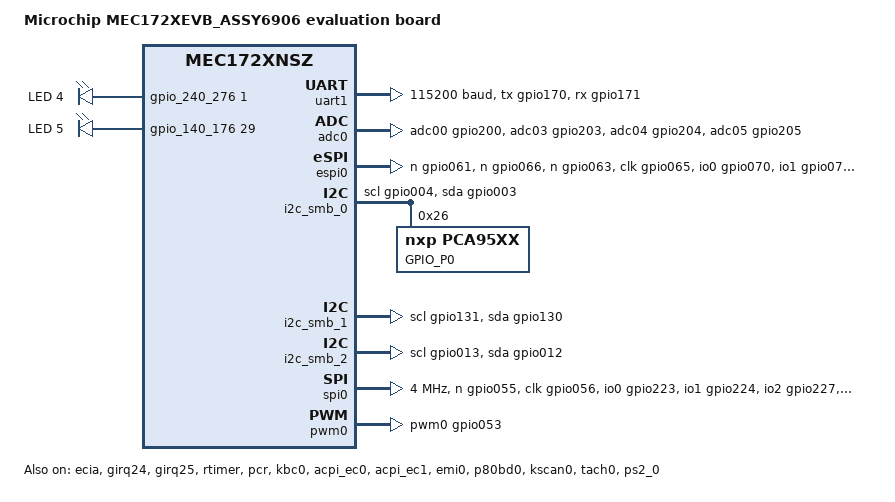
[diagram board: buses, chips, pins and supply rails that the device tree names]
/*
 * Copyright (c) 2021, Microchip Technology Inc.
 *
 * SPDX-License-Identifier: Apache-2.0
 */

/dts-v1/;

#include <microchip/mec172xnsz.dtsi>
#include <microchip/mec172x/mec172xnsz-pinctrl.dtsi>

/ {
	model = "Microchip MEC172XEVB_ASSY6906 evaluation board";
	compatible = "microchip,mec172xevb_assy6906", "microchip,mec172xnsz";

	chosen {
		zephyr,sram = &sram0;
		zephyr,flash = &flash0;
		zephyr,console = &uart1;
	};

	aliases {
		led0 = &led4;
		led1 = &led3;
		i2c0 = &i2c_smb_0;
		i2c-0 = &i2c_smb_0;
		i2c1 = &i2c_smb_1;
		i2c7 = &i2c_smb_2;
		pwm-0 = &pwm0;
		watchdog0 = &wdog;
	};

	leds {
		compatible = "gpio-leds";
		led4: led_0 {
			/* GPIO241/CMP_VOUT0/PWM0_ALT on schematic,
			 * LED4 on silkscreen.
			 */
			gpios = <&gpio_240_276 1 GPIO_ACTIVE_HIGH>;
			label = "LED 4";
		};
		led3: led_1 {
			/* GPIO175/CMP_VOUT1/PWM8_ALT on schematic,
			 * LED5 on silkscreen.
			 */
			gpios = <&gpio_140_176 29 GPIO_ACTIVE_HIGH>;
			label = "LED 5";
		};
	};

	power-states {
		idle: idle {
			compatible = "zephyr,power-state";
			power-state-name = "suspend-to-idle";
			min-residency-us = <1000000>;
		};

		suspend_to_ram: suspend_to_ram {
			compatible = "zephyr,power-state";
			power-state-name = "suspend-to-ram";
			min-residency-us = <2000000>;
		};
	};
};

&cpu0 {
	clock-frequency = <96000000>;
	status = "okay";
};

/* Initialize ECIA. Does not initialize child devices */
&ecia {
	status = "okay";
};

/* Enable aggregated GIRQ24 and GIRQ25 for eSPI virtual wires interrupts */
&girq24 {
	status = "okay";
};

&girq25 {
	status = "okay";
};

&rtimer {
	status = "okay";
};

&pcr {
	status = "okay";
};

&uart1 {
	status = "okay";
	current-speed = <115200>;
	pinctrl-0 = <&uart1_tx_gpio170 &uart1_rx_gpio171>;
	pinctrl-names = "default";
};

&adc0 {
	status = "okay";
	pinctrl-0 = <&adc00_gpio200 &adc03_gpio203
		     &adc04_gpio204 &adc05_gpio205>;
	pinctrl-names = "default";
};

&espi0 {
	status = "okay";
	pinctrl-0 = < &espi_reset_n_gpio061 &espi_cs_n_gpio066
		      &espi_alert_n_gpio063 &espi_clk_gpio065
		      &espi_io0_gpio070 &espi_io1_gpio071
		      &espi_io2_gpio072 &espi_io3_gpio073 >;
	pinctrl-names = "default";
};

/* enable various eSPI child devices (host facing) */
&kbc0 {
	status = "okay";
};

&acpi_ec0 {
	status = "okay";
};

&acpi_ec1 {
	status = "okay";
};

&emi0 {
	status = "okay";
};

&p80bd0 {
	status = "okay";
};

/* I2C */
&i2c_smb_0 {
	status = "okay";
	label = "I2C0";
	port_sel = <0>;

	pinctrl-0 = < &i2c00_scl_gpio004 &i2c00_sda_gpio003 >;
	pinctrl-names = "default";

	pca9555@26 {
		compatible = "nxp,pca95xx";
		label = "GPIO_P0";

		/* Depends on JP53 for device address.
		 * Pin 1-2 = A0, pin 3-4 = A1, pin 5-6 = A2.
		 * Address is: 0100<A2><A1><A0>b.
		 *
		 * Default has pin 1-2 on JP53 connected,
		 * resulting in device address 0x26.
		 */
		reg = <0x26>;

		gpio-controller;
		#gpio-cells = <2>;
	};
};

&i2c00_scl_gpio004 {
	drive-open-drain;
	output-high;
};

&i2c00_sda_gpio003 {
	drive-open-drain;
	output-high;
};

&i2c_smb_1 {
	status = "okay";
	label = "I2C1";
	port_sel = <1>;
	pinctrl-0 = <&i2c01_scl_gpio131 &i2c01_sda_gpio130>;
	pinctrl-names = "default";
};

&i2c01_scl_gpio131 {
	drive-open-drain;
	output-high;
};

&i2c01_sda_gpio130 {
	drive-open-drain;
	output-high;
};

&i2c_smb_2 {
	status = "okay";
	label = "I2C7";
	port_sel = <7>;
	pinctrl-0 = <&i2c07_scl_gpio013 &i2c07_sda_gpio012>;
	pinctrl-names = "default";
};

&i2c07_scl_gpio013 {
	drive-open-drain;
	output-high;
};

&i2c07_sda_gpio012 {
	drive-open-drain;
	output-high;
};

&spi0 {
	status = "okay";
	clock-frequency = <4000000>;
	lines = <4>;
	chip_select = <0>;
	port_sel = <0>; /* Shared SPI */

	pinctrl-0 = < &shd_cs0_n_gpio055
		      &shd_clk_gpio056
		      &shd_io0_gpio223
		      &shd_io1_gpio224
		      &shd_io2_gpio227
		      &shd_io3_gpio016 >;
	pinctrl-names = "default";
};

&kscan0 {
	status = "okay";

	pinctrl-0 = < &ksi0_gpio017
		      &ksi1_gpio020
		      &ksi2_gpio021
		      &ksi3_gpio026
		      &ksi4_gpio027
		      &ksi5_gpio030
		      &ksi6_gpio031
		      &ksi7_gpio032
		      &kso00_gpio040
		      &kso01_gpio045
		      &kso02_gpio046
		      &kso03_gpio047
		      &kso04_gpio107
		      &kso05_gpio112
		      &kso06_gpio113
		      &kso07_gpio120
		      &kso08_gpio121
		      &kso09_gpio122
		      &kso10_gpio123
		      &kso11_gpio124
		      &kso12_gpio125
		      &kso13_gpio126 >;
	pinctrl-names = "default";
};

&ksi0_gpio017 {
	bias-pull-up;
};

&ksi1_gpio020 {
	bias-pull-up;
};

&ksi2_gpio021 {
	bias-pull-up;
};

&ksi3_gpio026 {
	bias-pull-up;
};

&ksi4_gpio027 {
	bias-pull-up;
};

&ksi5_gpio030 {
	bias-pull-up;
};

&ksi6_gpio031 {
	bias-pull-up;
};

&ksi7_gpio032 {
	bias-pull-up;
};

&pwm0 {
	status = "okay";
	pinctrl-0 = <&pwm0_gpio053>;
	pinctrl-names = "default";
};

&tach0 {
	status = "okay";
	pinctrl-0 = <&tach0_gpio050>;
	pinctrl-names = "default";
};

&ps2_0 {
	status = "okay";
	pinctrl-0 = <&ps2_clk0a_gpio114 &ps2_dat0a_gpio115>;
	pinctrl-names = "default";
};
